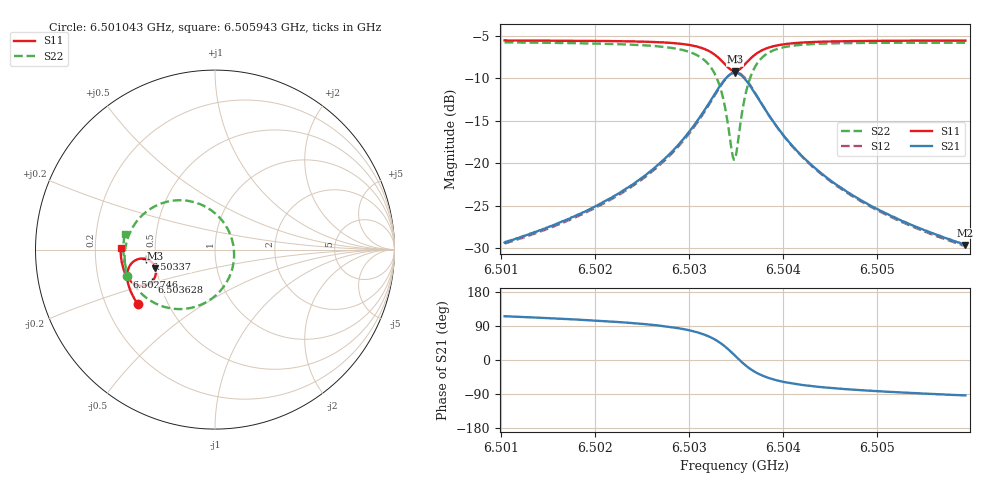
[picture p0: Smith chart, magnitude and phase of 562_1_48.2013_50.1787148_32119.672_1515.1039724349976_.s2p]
#  HZ  S  RI  R  50.00
! Rohde & Schwarz Vector Network Analyzer
! Rohde-Schwarz,ZNB20-2Port,1311601062101988,3.16
! Created: UTC 3/20/2024, 12:01:13 PM
! freq[Hz]  re:S11  im:S11  re:S21  im:S21  re:S12  im:S12  re:S22  im:S22
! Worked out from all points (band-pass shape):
!   401 points, 6.501043 GHz to 6.505943 GHz, reference 50 ohm
!   highest |S21| = -9.36 dB at 6.503493 GHz (marker M1); lowest = -29.6 dB at 6.505943 GHz (marker M2)
!   |S21| within 3 dB of the highest: 6.503249 GHz to 6.503739 GHz (489.7 kHz wide, 0.00753 % of centre)
!   lowest |S11| = -9.2 dB at 6.503493 GHz (marker M3), VSWR 2.07, Z = 24.6 - j5.77 ohm
!   |S11| at or under -10 dB: nowhere
!   |S22| runs from -19.6 to -5.8 dB; largest |S21 - S12| = 0.012
!   S11 on the Smith chart (normalised r, x): 6.501043 GHz: 0.34, -0.28; 6.502746 GHz: 0.33, -0.14; 6.50337 GHz: 0.44, -0.05; 6.503628 GHz: 0.45, -0.19; 6.505943 GHz: 0.31, +0.01
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6.5010426e9  -0.4305 -0.304  -0.0147 0.031  -0.0132 0.0311  -0.4919 -0.1474
6.5018635e9  -0.4652 -0.2425  -0.014 0.0491  -0.0116 0.0486  -0.5037 -0.0587
6.5022923e9  -0.48 -0.204  -0.0112 0.0677  -0.00815 0.0665  -0.5003 0.00297
6.5026844e9  -0.489 -0.1601  -0.00147 0.0992  0.00209 0.0968  -0.4792 0.0827
6.5027456e9  -0.4896 -0.1519  0.00165 0.1064  0.00525 0.1038  -0.472 0.0988
6.5029662e9  -0.4859 -0.1167  0.0237 0.1419  0.0275 0.1377  -0.426 0.1697
6.5031254e9  -0.4713 -0.0845  0.0632 0.178  0.066 0.1724  -0.3494 0.2335
6.5032725e9  -0.4333 -0.0547  0.145 0.2072  0.1458 0.201  -0.2004 0.2751
6.5033705e9  -0.3867 -0.0517  0.2369 0.1907  0.237 0.1863  -0.0415 0.2325
6.5034562e9  -0.3433 -0.0809  0.3158 0.1161  0.3184 0.1121  0.0847 0.0857
6.5034807e9  -0.3353 -0.0952  0.3294 0.084  0.3328 0.0795  0.1019 0.0253
6.503493e9  -0.3323 -0.103  0.3336 0.0671  0.3375 0.0619  0.1058 -0.00636
6.5035175e9  -0.3293 -0.1195  0.3372 0.0321  0.3415 0.0257  0.1037 -0.0702
6.5035543e9  -0.3314 -0.1437  0.3299 -0.0183  0.3338 -0.027  0.0766 -0.1598
6.5036278e9  -0.3538 -0.1812  0.283 -0.0953  0.2833 -0.1067  -0.0339 -0.2838
6.503738e9  -0.3996 -0.2015  0.1958 -0.1409  0.1904 -0.1509  -0.2111 -0.3311
6.5038973e9  -0.4472 -0.1921  0.1112 -0.1371  0.104 -0.1424  -0.3632 -0.2822
6.5040688e9  -0.4752 -0.1705  0.0654 -0.1159  0.0592 -0.1183  -0.437 -0.2155
6.5043139e9  -0.4963 -0.1406  0.0346 -0.0906  0.0299 -0.0911  -0.4814 -0.1417
6.5046814e9  -0.5119 -0.1015  0.0152 -0.0665  0.0119 -0.0661  -0.5042 -0.0661
6.5051348e9  -0.5214 -0.0593  0.00522 -0.0494  0.00297 -0.0488  -0.5105 -0.000379
6.5059434e9  -0.5264 0.00984  -0.00198 -0.0331  -0.00331 -0.0324  -0.5033 0.0867
